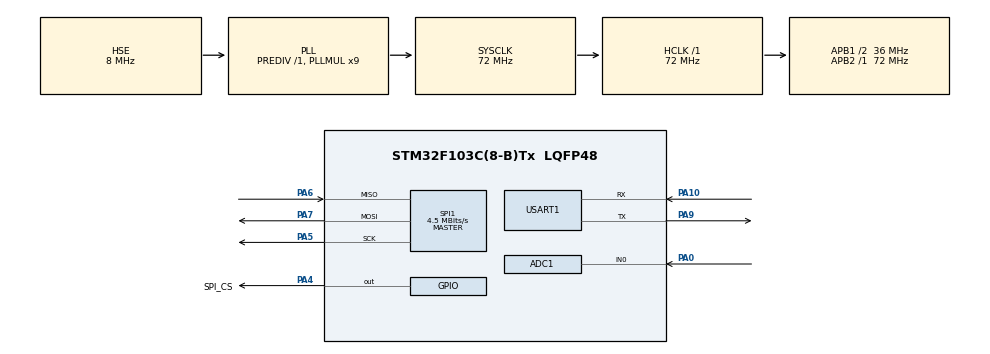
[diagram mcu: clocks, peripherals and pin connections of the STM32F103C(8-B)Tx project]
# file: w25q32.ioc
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ADC1.Channel-0\#ChannelRegularConversion=ADC_CHANNEL_0
ADC1.NbrOfConversionFlag=1
ADC1.Rank-0\#ChannelRegularConversion=1
ADC1.SamplingTime-0\#ChannelRegularConversion=ADC_SAMPLETIME_1CYCLE_5
ADC1.master=1
FATFS._FS_MINIMIZE=0
FATFS._FS_NORTC=1
FATFS._MAX_SS=4096
FATFS._MIN_SS=512
FREERTOS.Tasks01=defaultTask,0,128,StartDefaultTask,Default,NULL
FREERTOS.configTOTAL_HEAP_SIZE=8096
Mcu.Family=STM32F1
Mcu.Name=STM32F103C(8-B)Tx
Mcu.Package=LQFP48
NVIC.ADC1_2_IRQn=true\:5\:0\:false\:false\:true\:true\:true
NVIC.PriorityGroup=NVIC_PRIORITYGROUP_4
NVIC.RCC_IRQn=true\:5\:0\:false\:false\:true\:true\:true
NVIC.USART1_IRQn=true\:5\:0\:true\:false\:true\:true\:true
PA0-WKUP.Signal=ADCx_IN0
PA10.Mode=Asynchronous
PA10.Signal=USART1_RX
PA13.Mode=Serial_Wire
PA13.Signal=SYS_JTMS-SWDIO
PA14.Mode=Serial_Wire
PA14.Signal=SYS_JTCK-SWCLK
PA4.GPIO_Label=SPI_CS
PA4.GPIO_ModeDefaultOutputPP=GPIO_MODE_OUTPUT_PP
PA4.GPIO_Speed=GPIO_SPEED_FREQ_HIGH
PA4.PinState=GPIO_PIN_RESET
PA4.Signal=GPIO_Output
PA5.GPIO_Speed=GPIO_SPEED_FREQ_HIGH
PA5.Mode=Full_Duplex_Master
PA5.Signal=SPI1_SCK
PA6.GPIO_Mode=GPIO_MODE_INPUT
PA6.GPIO_PuPd=GPIO_PULLUP
PA6.Mode=Full_Duplex_Master
PA6.Signal=SPI1_MISO
PA7.GPIO_Speed=GPIO_SPEED_FREQ_HIGH
PA7.Mode=Full_Duplex_Master
PA7.Signal=SPI1_MOSI
PA9.Mode=Asynchronous
PA9.Signal=USART1_TX
PC14-OSC32_IN.Mode=LSE-External-Oscillator
PC14-OSC32_IN.Signal=RCC_OSC32_IN
PC15-OSC32_OUT.Mode=LSE-External-Oscillator
PC15-OSC32_OUT.Signal=RCC_OSC32_OUT
PD0-OSC_IN.Mode=HSE-External-Oscillator
PD0-OSC_IN.Signal=RCC_OSC_IN
PD1-OSC_OUT.Mode=HSE-External-Oscillator
PD1-OSC_OUT.Signal=RCC_OSC_OUT
ProjectManager.HeapSize=0x00
ProjectManager.StackSize=0x200
ProjectManager.TargetToolchain=EWARM
RCC.ADCPresc=RCC_ADCPCLK2_DIV6
RCC.AHBFreq_Value=72000000
RCC.APB1CLKDivider=RCC_HCLK_DIV2
RCC.APB1Freq_Value=36000000
RCC.APB1TimFreq_Value=72000000
RCC.APB2Freq_Value=72000000
RCC.APB2TimFreq_Value=72000000
RCC.HCLKFreq_Value=72000000
RCC.PLLMUL=RCC_PLL_MUL9
RCC.PLLSourceVirtual=RCC_PLLSOURCE_HSE
RCC.RTCClockSelection=RCC_RTCCLKSOURCE_LSE
RCC.SYSCLKFreq_VALUE=72000000
RCC.SYSCLKSource=RCC_SYSCLKSOURCE_PLLCLK
RCC.USBFreq_Value=72000000
RTC.Format=RTC_FORMAT_BIN
SH.ADCx_IN0.0=ADC1_IN0,IN0
SPI1.BaudRatePrescaler=SPI_BAUDRATEPRESCALER_16
SPI1.CalculateBaudRate=4.5 MBits/s
SPI1.Direction=SPI_DIRECTION_2LINES
SPI1.Mode=SPI_MODE_MASTER
SPI1.VirtualType=VM_MASTER
USART1.VirtualMode=VM_ASYNC
VP_FATFS_VS_Generic.Mode=User_defined
VP_FREERTOS_VS_ENABLE.Mode=Enabled
VP_RTC_VS_RTC_Activate.Mode=RTC_Enabled
VP_RTC_VS_RTC_Calendar.Mode=RTC_Calendar
board=w25q32

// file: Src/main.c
/**
  ******************************************************************************
  * File Name          : main.c
  * Description        : Main program body
  ******************************************************************************
  * This notice applies to any and all portions of this file
  * that are not between comment pairs USER CODE BEGIN and
  * USER CODE END. Other portions of this file, whether
  * inserted by the user or by software development tools
  * are owned by their respective copyright owners.
  *
  * Copyright (c) 2017 STMicroelectronics International N.V.
  * All rights reserved.
  *
  * Redistribution and use in source and binary forms, with or without
  * modification, are permitted, provided that the following conditions are met:
  *
  * 1. Redistribution of source code must retain the above copyright notice,
  *    this list of conditions and the following disclaimer.
  * 2. Redistributions in binary form must reproduce the above copyright notice,
  *    this list of conditions and the following disclaimer in the documentation
  *    and/or other materials provided with the distribution.
  * 3. Neither the name of STMicroelectronics nor the names of other
  *    contributors to this software may be used to endorse or promote products
  *    derived from this software without specific written permission.
  * 4. This software, including modifications and/or derivative works of this
  *    software, must execute solely and exclusively on microcontroller or
  *    microprocessor devices manufactured by or for STMicroelectronics.
  * 5. Redistribution and use of this software other than as permitted under
  *    this license is void and will automatically terminate your rights under
  *    this license.
  *
  * THIS SOFTWARE IS PROVIDED BY STMICROELECTRONICS AND CONTRIBUTORS "AS IS"
  * AND ANY EXPRESS, IMPLIED OR STATUTORY WARRANTIES, INCLUDING, BUT NOT
  * LIMITED TO, THE IMPLIED WARRANTIES OF MERCHANTABILITY, FITNESS FOR A
  * PARTICULAR PURPOSE AND NON-INFRINGEMENT OF THIRD PARTY INTELLECTUAL PROPERTY
  * RIGHTS ARE DISCLAIMED TO THE FULLEST EXTENT PERMITTED BY LAW. IN NO EVENT
  * SHALL STMICROELECTRONICS OR CONTRIBUTORS BE LIABLE FOR ANY DIRECT, INDIRECT,
  * INCIDENTAL, SPECIAL, EXEMPLARY, OR CONSEQUENTIAL DAMAGES (INCLUDING, BUT NOT
  * LIMITED TO, PROCUREMENT OF SUBSTITUTE GOODS OR SERVICES; LOSS OF USE, DATA,
  * OR PROFITS; OR BUSINESS INTERRUPTION) HOWEVER CAUSED AND ON ANY THEORY OF
  * LIABILITY, WHETHER IN CONTRACT, STRICT LIABILITY, OR TORT (INCLUDING
  * NEGLIGENCE OR OTHERWISE) ARISING IN ANY WAY OUT OF THE USE OF THIS SOFTWARE,
  * EVEN IF ADVISED OF THE POSSIBILITY OF SUCH DAMAGE.
  *
  ******************************************************************************
  */

#include "main.h"
#include "stm32f1xx_hal.h"
#include "cmsis_os.h"
#include "adc.h"
#include "fatfs.h"
#include "rtc.h"
#include "spi.h"
#include "usart.h"
#include "gpio.h"

/* USER CODE BEGIN PV */
/* Private variables ---------------------------------------------------------*/
/* USER CODE END PV */

void SystemClock_Config(void);
void MX_FREERTOS_Init(void);

/* USER CODE BEGIN PFP */
/* Private function prototypes -----------------------------------------------*/

/* USER CODE END PFP */

int main(void)
{

  /* MCU Configuration----------------------------------------------------------*/

  /* Reset of all peripherals, Initializes the Flash interface and the Systick. */
  HAL_Init();

  /* Configure the system clock */
  SystemClock_Config();

  /* Initialize all configured peripherals */
  MX_GPIO_Init();
  MX_ADC1_Init();
  MX_RTC_Init();
  MX_SPI1_Init();
  MX_USART1_UART_Init();

  /* Call init function for freertos objects (in freertos.c) */
  MX_FREERTOS_Init();

  /* Start scheduler */
  osKernelStart();

  /* We should never get here as control is now taken by the scheduler */

  /* Infinite loop */
  while (1)
  {

  }

}

/** System Clock Configuration
*/
void SystemClock_Config(void)
{

  RCC_OscInitTypeDef RCC_OscInitStruct;
  RCC_ClkInitTypeDef RCC_ClkInitStruct;
  RCC_PeriphCLKInitTypeDef PeriphClkInit;

    /**Initializes the CPU, AHB and APB busses clocks
    */
  RCC_OscInitStruct.OscillatorType = RCC_OSCILLATORTYPE_HSE|RCC_OSCILLATORTYPE_LSE;
  RCC_OscInitStruct.HSEState = RCC_HSE_ON;
  RCC_OscInitStruct.HSEPredivValue = RCC_HSE_PREDIV_DIV1;
  RCC_OscInitStruct.LSEState = RCC_LSE_ON;
  RCC_OscInitStruct.HSIState = RCC_HSI_ON;
  RCC_OscInitStruct.PLL.PLLState = RCC_PLL_ON;
  RCC_OscInitStruct.PLL.PLLSource = RCC_PLLSOURCE_HSE;
  RCC_OscInitStruct.PLL.PLLMUL = RCC_PLL_MUL9;
  if (HAL_RCC_OscConfig(&RCC_OscInitStruct) != HAL_OK)
  {
    _Error_Handler(__FILE__, __LINE__);
  }

    /**Initializes the CPU, AHB and APB busses clocks
    */
  RCC_ClkInitStruct.ClockType = RCC_CLOCKTYPE_HCLK|RCC_CLOCKTYPE_SYSCLK
                              |RCC_CLOCKTYPE_PCLK1|RCC_CLOCKTYPE_PCLK2;
  RCC_ClkInitStruct.SYSCLKSource = RCC_SYSCLKSOURCE_PLLCLK;
  RCC_ClkInitStruct.AHBCLKDivider = RCC_SYSCLK_DIV1;
  RCC_ClkInitStruct.APB1CLKDivider = RCC_HCLK_DIV2;
  RCC_ClkInitStruct.APB2CLKDivider = RCC_HCLK_DIV1;

  if (HAL_RCC_ClockConfig(&RCC_ClkInitStruct, FLASH_LATENCY_2) != HAL_OK)
  {
    _Error_Handler(__FILE__, __LINE__);
  }

  PeriphClkInit.PeriphClockSelection = RCC_PERIPHCLK_RTC|RCC_PERIPHCLK_ADC;
  PeriphClkInit.RTCClockSelection = RCC_RTCCLKSOURCE_LSE;
  PeriphClkInit.AdcClockSelection = RCC_ADCPCLK2_DIV6;
  if (HAL_RCCEx_PeriphCLKConfig(&PeriphClkInit) != HAL_OK)
  {
    _Error_Handler(__FILE__, __LINE__);
  }

    /**Configure the Systick interrupt time
    */
  HAL_SYSTICK_Config(HAL_RCC_GetHCLKFreq()/1000);

    /**Configure the Systick
    */
  HAL_SYSTICK_CLKSourceConfig(SYSTICK_CLKSOURCE_HCLK);

  /* SysTick_IRQn interrupt configuration */
  HAL_NVIC_SetPriority(SysTick_IRQn, 15, 0);
}

/* USER CODE BEGIN 4 */
uint32_t APP_TIMESTAMP(void)
{
 return osKernelSysTick();
}

int fputc(int ch, FILE *f)
{
 HAL_UART_Transmit(&huart1,(uint8_t*)&ch,1,0xff);
 return ch;
}

void SEGGER_RTT_CRITICAL_REGION_ENTER()
{
  if(__get_IPSR()==0)
  {
   taskENTER_CRITICAL();
 }
}

void SEGGER_RTT_CRITICAL_REGION_EXIT()
{
  if ( __get_IPSR()==0)
  {
   taskEXIT_CRITICAL();
  }
}
/* USER CODE END 4 */

void _Error_Handler(char * file, int line)
{
  while(1)
  {
  }
}

/************************ (C) COPYRIGHT STMicroelectronics *****END OF FILE****/

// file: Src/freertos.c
/**
  ******************************************************************************
  * File Name          : freertos.c
  * Description        : Code for freertos applications
  ******************************************************************************
  * This notice applies to any and all portions of this file
  * that are not between comment pairs USER CODE BEGIN and
  * USER CODE END. Other portions of this file, whether
  * inserted by the user or by software development tools
  * are owned by their respective copyright owners.
  *
  * Copyright (c) 2017 STMicroelectronics International N.V.
  * All rights reserved.
  *
  * Redistribution and use in source and binary forms, with or without
  * modification, are permitted, provided that the following conditions are met:
  *
  * 1. Redistribution of source code must retain the above copyright notice,
  *    this list of conditions and the following disclaimer.
  * 2. Redistributions in binary form must reproduce the above copyright notice,
  *    this list of conditions and the following disclaimer in the documentation
  *    and/or other materials provided with the distribution.
  * 3. Neither the name of STMicroelectronics nor the names of other
  *    contributors to this software may be used to endorse or promote products
  *    derived from this software without specific written permission.
  * 4. This software, including modifications and/or derivative works of this
  *    software, must execute solely and exclusively on microcontroller or
  *    microprocessor devices manufactured by or for STMicroelectronics.
  * 5. Redistribution and use of this software other than as permitted under
  *    this license is void and will automatically terminate your rights under
  *    this license.
  *
  * THIS SOFTWARE IS PROVIDED BY STMICROELECTRONICS AND CONTRIBUTORS "AS IS"
  * AND ANY EXPRESS, IMPLIED OR STATUTORY WARRANTIES, INCLUDING, BUT NOT
  * LIMITED TO, THE IMPLIED WARRANTIES OF MERCHANTABILITY, FITNESS FOR A
  * PARTICULAR PURPOSE AND NON-INFRINGEMENT OF THIRD PARTY INTELLECTUAL PROPERTY
  * RIGHTS ARE DISCLAIMED TO THE FULLEST EXTENT PERMITTED BY LAW. IN NO EVENT
  * SHALL STMICROELECTRONICS OR CONTRIBUTORS BE LIABLE FOR ANY DIRECT, INDIRECT,
  * INCIDENTAL, SPECIAL, EXEMPLARY, OR CONSEQUENTIAL DAMAGES (INCLUDING, BUT NOT
  * LIMITED TO, PROCUREMENT OF SUBSTITUTE GOODS OR SERVICES; LOSS OF USE, DATA,
  * OR PROFITS; OR BUSINESS INTERRUPTION) HOWEVER CAUSED AND ON ANY THEORY OF
  * LIABILITY, WHETHER IN CONTRACT, STRICT LIABILITY, OR TORT (INCLUDING
  * NEGLIGENCE OR OTHERWISE) ARISING IN ANY WAY OUT OF THE USE OF THIS SOFTWARE,
  * EVEN IF ADVISED OF THE POSSIBILITY OF SUCH DAMAGE.
  *
  ******************************************************************************
  */

#include "FreeRTOS.h"
#include "task.h"
#include "cmsis_os.h"

/* USER CODE BEGIN Includes */
#include "fatfs.h"
#include "stm32_mini_board.h"
#include "FLASH_W25QXX.h"
#include "app_log.h"
#include "fatfs.h"
/* USER CODE END Includes */

osThreadId defaultTaskHandle;

void StartDefaultTask(void const * argument);

extern void MX_FATFS_Init(void);
void MX_FREERTOS_Init(void); /* (MISRA C 2004 rule 8.1) */

/* USER CODE BEGIN FunctionPrototypes */
#if APP_LOG_ENABLED > 0
#undef  APP_LOG_MODULE_NAME
#undef  APP_LOG_MODULE_LEVEL
#define APP_LOG_MODULE_NAME   "[board]"
#define APP_LOG_MODULE_LEVEL   APP_LOG_LEVEL_DEBUG
#endif
/* USER CODE END FunctionPrototypes */

/* Hook prototypes */

/* Init FreeRTOS */

void MX_FREERTOS_Init(void) {

  /* Create the thread(s) */
  /* definition and creation of defaultTask */
  osThreadDef(defaultTask, StartDefaultTask, osPriorityNormal, 0, 1700);
  defaultTaskHandle = osThreadCreate(osThread(defaultTask), NULL);

}

/* StartDefaultTask function */
void StartDefaultTask(void const * argument)
{
  /* init code for FATFS */
  MX_FATFS_Init();

  /* USER CODE BEGIN StartDefaultTask */
  /* Infinite loop */

    uint16_t m_id;
    uint8_t id[8];
    m_id=FLASH_W25QXX_Get_Manufacturer_Id();
    APP_LOG_DEBUG("m_id is:%d\r\n",m_id);

    FLASH_W25QXX_Get_Unique_Id(id);
    for(uint8_t i=0;i<8;i++)
    {
     APP_LOG_DEBUG("u_id is:%d\r\n",id[i]);
    }
    /*
     BSP_W25Q32_Sector_Read( 0,
                          read,
                           0,
                            1);
    for(uint32_t i=0;i<4096;i++)
    {
      read[i]=i;
    }
    BSP_W25Q32_Sector_Program( 0, read,  0,  1) ;

    BSP_W25Q32_Sector_Read( 0,
                          read,
                           0,
                           1);
    for(uint32_t i=0;i<4096;i++)
    {
      APP_LOG_DEBUG(" %d:\r\n",read[i]);
    }
*/
  int SEGGER_RTT_GetKey(void);
  for(;;)
  {
    FRESULT ret;
    UINT bw;
    char key;
    osDelay(100);
    uint8_t read[30]={0};

   key=(char) SEGGER_RTT_GetKey();

   switch(key)
   {
   case 'm':
  if(f_mount(&USERFatFS, (TCHAR const*)USERPath, 1) != FR_OK)
  {
   APP_LOG_DEBUG("mount fs failed!\r\n");
  }
  else
  {
   APP_LOG_DEBUG("mount fs success!\r\n");
  }
  break;
 /*
  case 'f':
  if(f_mkfs((TCHAR const*)USERPath, 1, 1) != FR_OK)
  {
    APP_LOG_DEBUG("mk fs failed!\r\n");
  }
  else
  {
   APP_LOG_DEBUG("mk fs success!\r\n");
  }
  break;
  case 'o':
  ret=f_open (&USERFile, "0:/hello.txt",FA_WRITE|FA_READ|FA_OPEN_ALWAYS);
   if(ret==FR_OK)
   {
    APP_LOG_DEBUG("open file success!\r\n");
   }
   else
   {
    APP_LOG_DEBUG("open file failed!\r\n");
   }
    break;

   case 'w':
   ret= f_write (&USERFile, "wkxboot fat_file_system!",sizeof("wkxboot fat_file_system!"), &bw);
   if(ret==FR_OK)
   {
   APP_LOG_DEBUG("file write success!\r\n");
   }
   else
   {
   APP_LOG_DEBUG("file write failed!\r\n");
   }
   break;

   case 'c':
    ret= f_close(&USERFile);
    if(ret==FR_OK)
    {
     APP_LOG_DEBUG("file close success!\r\n");
    }
    else
    {
     APP_LOG_DEBUG("file close  failed!\r\n");
    }
    break;

   case 'r':
   for(int i=0;i<30;i++)
   {
   read[i]=0;
   }
   ret= f_read (&USERFile, read, 30 ,&bw);
   if(ret==FR_OK)
   {
   APP_LOG_DEBUG("file read  success!\r\n");
   read[29]=0;
   APP_LOG_DEBUG("data:\r\n%s",read);
   }
   else
   {
   APP_LOG_DEBUG("file read  failed!\r\n");
   }
  break;

  case 'l':
  ret = f_lseek(&USERFile, 3);

   if(ret==FR_OK)
   {
   APP_LOG_DEBUG("file lseek  success!\r\n");
   }
   else
   {
  APP_LOG_DEBUG("file lseek  failed!\r\n");
   }
  break;
*/
  case 'u':
  FILINFO info;
  ret = f_stat("0:/hello.txt", &info);

   if(ret==FR_OK)
   {
   APP_LOG_DEBUG("file status  success!\r\n");
   APP_LOG_INFO("file name:%s\r\n",info.fname);
   APP_LOG_INFO("file time:%d\r\n",info.fdate);
   }
   else
   {
  APP_LOG_DEBUG("file status  failed!\r\n");
   }
  break;
 FRESULT scan_files (
    char* path
 );

   case 'd':
   uint8_t buff[50];
   buff[0]='/';
    scan_files (
     buff
 );
 break;

  /*
   case 'i':
 FRESULT open_dir();
  ret =open_dir();
  if (ret == FR_OK) {
    APP_LOG_DEBUG("打开文件夹成功！\r\n");
  }
  else
  {
   APP_LOG_DEBUG("打开文件夹失败！\r\n");
  }
  break;
*/
  /*
   case 'x':
     ret=f_mkdir("0:/xxoo");
   if (ret == FR_OK)
   {
     APP_LOG_DEBUG("创建文件夹成功！\r\n");
   }
   else
   {
       APP_LOG_DEBUG("创建文件夹失败！\r\n");
   }
*/
  case 's':
  APP_LOG_DEBUG("file size:%d\r\n",f_size(&USERFile));
  break;
  case 'p':
  APP_LOG_DEBUG("file pointer:%d\r\n",f_tell(&USERFile));
  break;

   }

  }

  /* USER CODE END StartDefaultTask */
}

/* USER CODE BEGIN Application */

FRESULT open_dir()
{
     DIR dir;
    return f_opendir(&dir,"0:/xxoo");                       /* Open the directory */
}

FRESULT scan_files (
    char* path        /* Start node to be scanned (***also used as work area***) */
)
{
    FRESULT res;
    DIR dir;
    UINT i;
    static FILINFO fno;

    res = f_opendir(&dir, path);                       /* Open the directory */
    if (res == FR_OK) {
        for (;;) {
            res = f_readdir(&dir, &fno);                   /* Read a directory item */
            if (res != FR_OK || fno.fname[0] == 0) break;  /* Break on error or end of dir */
            if (fno.fattrib & AM_DIR) {                    /* It is a directory */
                i = strlen(path);
                sprintf(&path[i], "/%s", fno.fname);
                res = scan_files(path);                    /* Enter the directory */
                if (res != FR_OK) break;
                path[i] = 0;
            } else {                                       /* It is a file. */
                APP_LOG_INFO("%s/%s\n", path, fno.fname);
            }
        }
        f_closedir(&dir);
    }

    return res;
}
/* USER CODE END Application */

/************************ (C) COPYRIGHT STMicroelectronics *****END OF FILE****/
